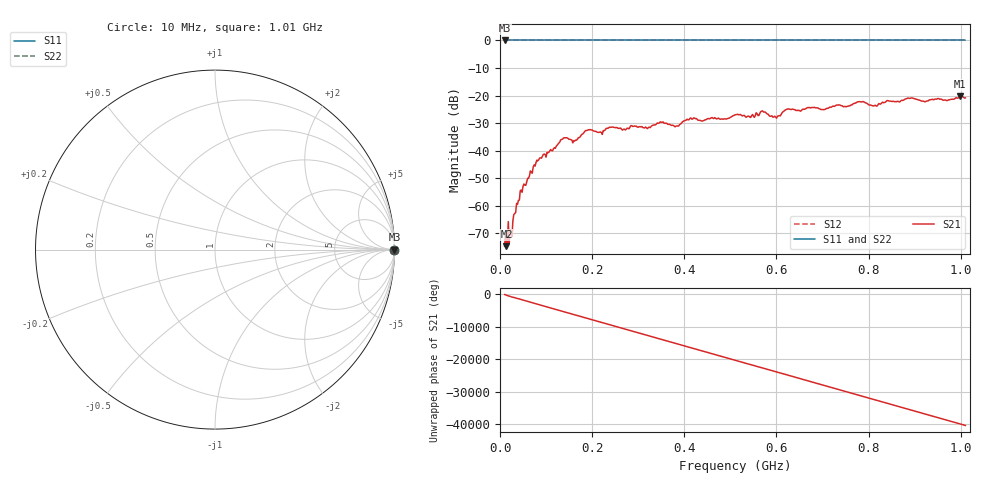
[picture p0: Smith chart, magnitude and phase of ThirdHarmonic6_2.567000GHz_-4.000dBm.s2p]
! 8/17/2025 5:20:48 AM
! C:\ANRITSUVNA\TEMP\TEMP.S2P
! CHANNEL.1
! TR.MEASUREMENT
! RAW.DATA
! RF.CORRECTION.OFF
! AVERAGING.OFF
! IF.BANDWIDTH: 5KHZ
! SWEEPTYPE:  FREQ.SWEEP(Linear)
! Reference Plane Port Info
! PORT:  PORT1  PORT2
! DISTANCE:  0  m  0  m
! TIME:  0  s  0  s
! PHASE.OFFSET:  0  deg.  0  deg.
! LOSS:  0  dB  0  dB
! REF.LOSS:  0  dB  0  dB
! REF.FREQ:  0  Hz  0  Hz
! Power Info
! POWER:  -20  dBm  -20  dBm
! EFF.POWER:  -20  dBm  -20  dBm
! SOURCE.ATTEN:  0  dB  0  dB
! TEST.ATTEN:  0  dB  0  dB
# GHZ S RI R 50.0
! FREQ.GHZ  S11RE  S11IM  S21RE  S21IM  S12RE  S12IM  S22RE  S22IM
!; PortSelection: Port_12
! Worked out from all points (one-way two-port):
!   501 points, 10 MHz to 1.01 GHz, reference 50 ohm
!   highest |S21| = -20.25 dB at 998 MHz (marker M1); lowest = -74.7 dB at 14 MHz (marker M2)
!   lowest |S11| = 0.0 dB at 10 MHz (marker M3)
!   |S11| at or under -10 dB: nowhere
!   |S22| runs from 0.0 to 0.0 dB; largest |S21 - S12| = 1.1
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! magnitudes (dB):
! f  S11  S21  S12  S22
! 10 MHz  0.0  -74.6  0.0  0.0
! 14 MHz  0.0  -74.7  0.0  0.0
! 24 MHz  0.0  -68.9  0.0  0.0
! 32 MHz  0.0  -62.8  0.0  0.0
! 48 MHz  0.0  -55.1  0.0  0.0
! 82 MHz  0.0  -43.7  0.0  0.0
! 136 MHz  0.0  -35.8  0.0  0.0
! 162 MHz  0.0  -36.5  0.0  0.0
! 178 MHz  0.0  -34.0  0.0  0.0
! 344 MHz  0.0  -30.1  0.0  0.0
! 384 MHz  0.0  -31.0  0.0  0.0
! 410 MHz  0.0  -28.8  0.0  0.0
! 510 MHz  0.0  -27.0  0.0  0.0
! 570 MHz  0.0  -25.6  0.0  0.0
! 596 MHz  0.0  -27.5  0.0  0.0
! 624 MHz  0.0  -24.9  0.0  0.0
! 678 MHz  0.0  -24.3  0.0  0.0
! 784 MHz  0.0  -22.3  0.0  0.0
! 814 MHz  0.0  -23.5  0.0  0.0
! 844 MHz  0.0  -21.9  0.0  0.0
! 998 MHz  0.0  -20.2  0.0  0.0
! 1.01 GHz  0.0  -20.8  0.0  0.0
